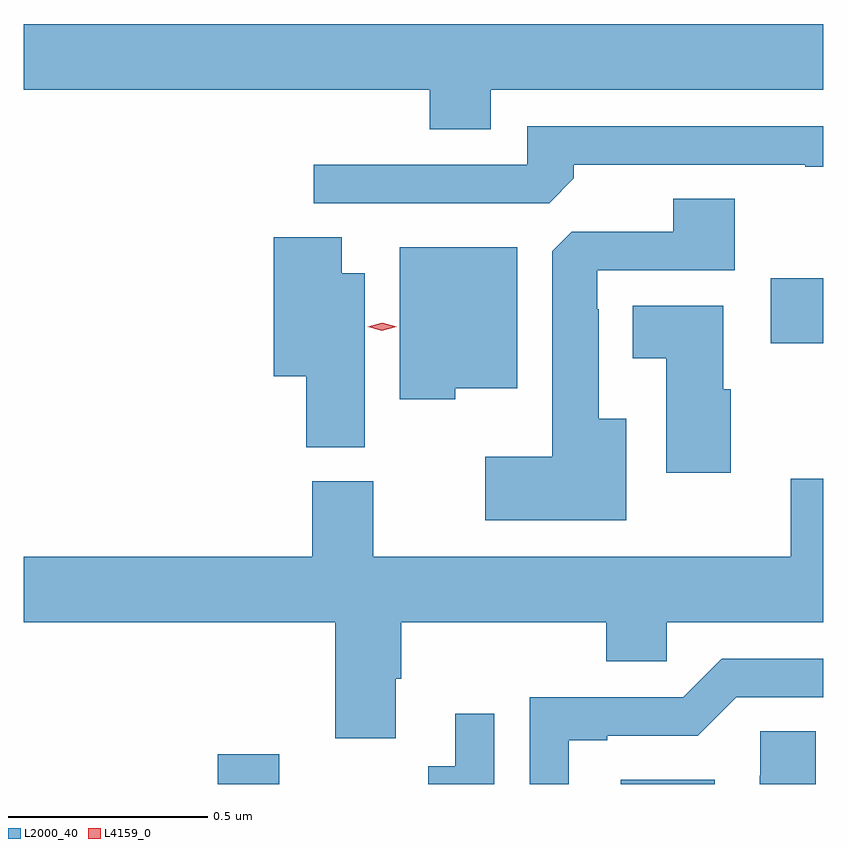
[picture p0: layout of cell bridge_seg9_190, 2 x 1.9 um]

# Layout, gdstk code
import gdstk
lib = gdstk.Library(unit=1e-6, precision=1e-09)
def R(c, l, rs):  # rectangles x0, y0, x1, y1
    for r in rs: c.add(gdstk.rectangle(r[:2], r[2:], *l))
def P(c, l, *ps):  # polygons
    for p in ps: c.add(gdstk.Polygon(p, *l))
L2000_40 = (2000, 40)
L4159_0 = (4159, 0)

bridge_seg9_190 = lib.new_cell('bridge_seg9_190')
R(bridge_seg9_190, L2000_40, [(180.89,1219.991,181.044,1220.065), (181.898,1219.991,182.134,1220.002), (182.274,1221.094,182.405,1221.256)])
P(bridge_seg9_190, L2000_40, [(181.573,1221.728),(182.405,1221.728),(182.405,1221.892),(180.405,1221.892),(180.405,1221.728),(181.421,1221.728),(181.421,1221.629),(181.573,1221.629)],
  [(181.781,1221.506),(181.781,1221.54),(182.36,1221.54),(182.36,1221.535),(182.405,1221.535),(182.405,1221.636),(181.665,1221.636),(181.665,1221.54),(181.131,1221.54),(181.131,1221.444),(181.719,1221.444)],
  [(181.912,1220.905),(181.843,1220.905),(181.843,1221.179),(181.839,1221.179),(181.839,1221.276),(182.183,1221.276),(182.183,1221.455),(182.03,1221.455),(182.03,1221.372),(181.776,1221.372),(181.727,1221.323),(181.727,1220.809),(181.56,1220.809),(181.56,1220.651),(181.912,1220.651)],
  [(181.258,1221.268),(181.201,1221.268),(181.201,1221.359),(181.031,1221.359),(181.031,1221.011),(181.112,1221.011),(181.112,1220.833),(181.258,1220.833)],
  [(181.485,1220.981),(181.639,1220.981),(181.639,1221.334),(181.346,1221.334),(181.346,1220.954),(181.485,1220.954)],
  [(182.173,1220.979),(182.155,1220.979),(182.155,1221.187),(181.928,1221.187),(181.928,1221.056),(182.012,1221.056),(182.012,1220.769),(182.173,1220.769)],
  [(181.336,1220.254),(181.349,1220.254),(181.349,1220.396),(181.862,1220.396),(181.862,1220.298),(182.013,1220.298),(182.013,1220.396),(182.405,1220.396),(182.405,1220.755),(182.324,1220.755),(182.324,1220.56),(181.279,1220.56),(181.279,1220.748),(181.127,1220.748),(181.127,1220.56),(180.405,1220.56),(180.405,1220.396),(181.184,1220.396),(181.184,1220.106),(181.336,1220.106)],
  [(181.768,1220.1),(181.864,1220.1),(181.864,1220.112),(182.091,1220.112),(182.187,1220.208),(182.405,1220.208),(182.405,1220.304),(182.151,1220.304),(182.055,1220.208),(181.671,1220.208),(181.671,1219.991),(181.768,1219.991)],
  [(181.582,1220.167),(181.484,1220.167),(181.484,1220.035),(181.417,1220.035),(181.417,1219.991),(181.582,1219.991)],
  [(182.386,1220.123),(182.247,1220.123),(182.247,1220.012),(182.246,1220.012),(182.246,1219.991),(182.386,1219.991)])
P(bridge_seg9_190, L4159_0, [(181.301,1221.125),(181.265,1221.135),(181.265,1221.135),(181.265,1221.135),(181.302,1221.145),(181.338,1221.135),(181.338,1221.135),(181.338,1221.135)])

lib.write_gds('bridge_seg9_190.gds')
